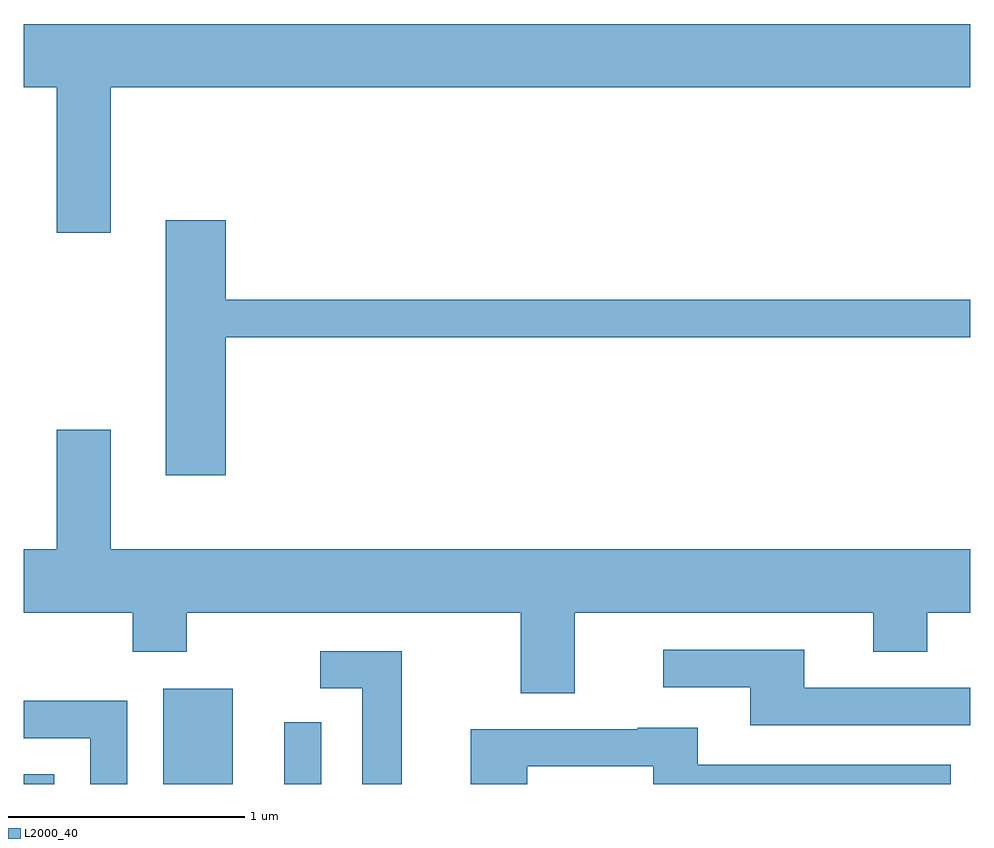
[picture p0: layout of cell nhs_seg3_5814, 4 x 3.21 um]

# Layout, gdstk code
import gdstk
lib = gdstk.Library(unit=1e-6, precision=1e-09)
def R(c, l, rs):  # rectangles x0, y0, x1, y1
    for r in rs: c.add(gdstk.rectangle(r[:2], r[2:], *l))
def P(c, l, *ps):  # polygons
    for p in ps: c.add(gdstk.Polygon(p, *l))
L2000_40 = (2000, 40)

nhs_seg3_5814 = lib.new_cell('nhs_seg3_5814')
R(nhs_seg3_5814, L2000_40, [(355.611,1191.892,355.739,1191.934), (356.201,1191.892,356.494,1192.294), (356.711,1191.892,356.869,1192.153)])
P(nhs_seg3_5814, L2000_40, [(355.979,1194.836),(359.611,1194.836),(359.611,1195.104),(355.611,1195.104),(355.611,1194.836),(355.751,1194.836),(355.751,1194.221),(355.979,1194.221)],
  [(356.464,1193.781),(359.611,1193.781),(359.611,1193.939),(356.464,1193.939),(356.464,1194.274),(356.211,1194.274),(356.211,1193.196),(356.464,1193.196)],
  [(357.939,1192.616),(359.201,1192.616),(359.201,1192.451),(359.429,1192.451),(359.429,1192.616),(359.611,1192.616),(359.611,1192.884),(355.979,1192.884),(355.979,1193.389),(355.751,1193.389),(355.751,1192.884),(355.611,1192.884),(355.611,1192.616),(356.071,1192.616),(356.071,1192.451),(356.299,1192.451),(356.299,1192.616),(357.711,1192.616),(357.711,1192.276),(357.939,1192.276)],
  [(359.611,1192.299),(358.909,1192.299),(358.909,1192.459),(358.313,1192.459),(358.313,1192.301),(358.681,1192.301),(358.681,1192.141),(359.611,1192.141)],
  [(357.209,1192.454),(356.863,1192.454),(356.863,1192.296),(357.041,1192.296),(357.041,1191.892),(357.209,1191.892)],
  [(356.049,1192.244),(355.611,1192.244),(355.611,1192.086),(355.891,1192.086),(355.891,1191.892),(356.049,1191.892)],
  [(357.739,1191.966),(358.271,1191.966),(358.271,1191.892),(359.528,1191.892),(359.528,1191.974),(358.459,1191.974),(358.459,1192.129),(358.205,1192.129),(358.205,1192.124),(357.501,1192.124),(357.501,1191.892),(357.739,1191.892)])

lib.write_gds('nhs_seg3_5814.gds')
